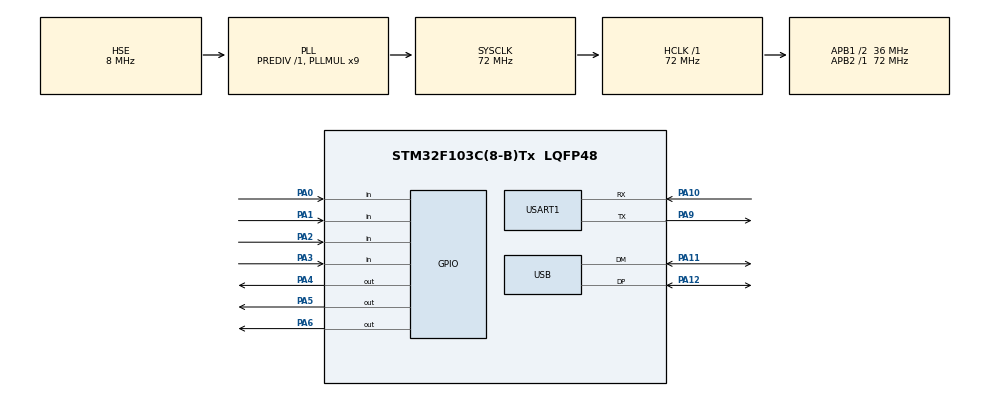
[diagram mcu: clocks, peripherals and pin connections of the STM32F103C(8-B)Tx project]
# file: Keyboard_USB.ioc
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Mcu.Family=STM32F1
Mcu.Name=STM32F103C(8-B)Tx
Mcu.Package=LQFP48
NVIC.PriorityGroup=NVIC_PRIORITYGROUP_4
NVIC.USB_LP_CAN1_RX0_IRQn=true\:0\:0\:false\:false\:true\:false\:true\:true
PA0-WKUP.GPIO_PuPd=GPIO_PULLUP
PA0-WKUP.Signal=GPIO_Input
PA1.GPIO_PuPd=GPIO_PULLUP
PA1.Signal=GPIO_Input
PA10.Mode=Asynchronous
PA10.Signal=USART1_RX
PA11.Mode=Device
PA11.Signal=USB_DM
PA12.Mode=Device
PA12.Signal=USB_DP
PA13.Mode=Serial_Wire
PA13.Signal=SYS_JTMS-SWDIO
PA14.Mode=Serial_Wire
PA14.Signal=SYS_JTCK-SWCLK
PA2.GPIO_PuPd=GPIO_PULLUP
PA2.Signal=GPIO_Input
PA3.GPIO_PuPd=GPIO_PULLUP
PA3.Signal=GPIO_Input
PA4.Signal=GPIO_Output
PA5.Signal=GPIO_Output
PA6.Signal=GPIO_Output
PA9.Mode=Asynchronous
PA9.Signal=USART1_TX
PD0-OSC_IN.Mode=HSE-External-Oscillator
PD0-OSC_IN.Signal=RCC_OSC_IN
PD1-OSC_OUT.Mode=HSE-External-Oscillator
PD1-OSC_OUT.Signal=RCC_OSC_OUT
ProjectManager.HeapSize=0x200
ProjectManager.StackSize=0x400
ProjectManager.TargetToolchain=MDK-ARM V5.32
RCC.AHBFreq_Value=72000000
RCC.APB1CLKDivider=RCC_HCLK_DIV2
RCC.APB1Freq_Value=36000000
RCC.APB1TimFreq_Value=72000000
RCC.APB2Freq_Value=72000000
RCC.APB2TimFreq_Value=72000000
RCC.HCLKFreq_Value=72000000
RCC.PLLMUL=RCC_PLL_MUL9
RCC.SYSCLKFreq_VALUE=72000000
RCC.SYSCLKSource=RCC_SYSCLKSOURCE_PLLCLK
RCC.USBFreq_Value=48000000
RCC.USBPrescaler=RCC_USBCLKSOURCE_PLL_DIV1_5
USART1.VirtualMode=VM_ASYNC
USB_DEVICE.CLASS_NAME_FS=HID
USB_DEVICE.VirtualMode=Hid
USB_DEVICE.VirtualModeFS=Hid_FS
VP_USB_DEVICE_VS_USB_DEVICE_HID_FS.Mode=HID_FS
board=custom

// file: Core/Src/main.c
/* USER CODE BEGIN Header */
/**
  ******************************************************************************
  * @file           : main.c
  * @brief          : Main program body
  ******************************************************************************
  * @attention
  *
  * Copyright (c) 2025 STMicroelectronics.
  * All rights reserved.
  *
  * This software is licensed under terms that can be found in the LICENSE file
  * in the root directory of this software component.
  * If no LICENSE file comes with this software, it is provided AS-IS.
  *
  ******************************************************************************
  */
/* USER CODE END Header */
#include "main.h"
#include "usb_device.h"

/* USER CODE BEGIN Includes */
#include "usbd_hid.h"
/* USER CODE END Includes */

UART_HandleTypeDef huart1;

/* USER CODE BEGIN PV */
/* Private variables ---------------------------------------------------------*/
#define PRESS_SIZE 8
#define CHAR_1_GPIO 				GPIOA
#define CHAR_1_PIN 				GPIO_PIN_0

extern USBD_HandleTypeDef hUsbDeviceFS;

typedef struct
{
	uint8_t MODIFIER;
	uint8_t RESERVED;
	uint8_t KEYCODE1;
	uint8_t KEYCODE2;
	uint8_t KEYCODE3;
	uint8_t KEYCODE4;
	uint8_t KEYCODE5;
	uint8_t KEYCODE6;
}subKeyBoard;

subKeyBoard keyBoardHIDsub = {0,0,0,0,0,0,0,0};
/* USER CODE END PV */

void SystemClock_Config(void);
static void MX_GPIO_Init(void);
static void MX_USART1_UART_Init(void);
/* USER CODE BEGIN PFP */
/* Private function prototypes -----------------------------------------------*/
void sendData()
{
//	if(HAL_GPIO_ReadPin(GPIOA, CHAR_1_PIN) == GPIO_PIN_RESET)
//	{
		uint8_t bufferHID[5] = {0, 0, 0, 0, 0};
		bufferHID[0] = 1;
		bufferHID[1] = 0;
		bufferHID[2] = 0x04;
		bufferHID[3] = 0x05;
		bufferHID[4] = 0x06;
		USBD_HID_SendReport(&hUsbDeviceFS,bufferHID,5);
		HAL_Delay(500);
		bufferHID[1] = 0;
		bufferHID[2] = 0;
		bufferHID[3] = 0;
		bufferHID[4] = 0;
		USBD_HID_SendReport(&hUsbDeviceFS,bufferHID,5);
		HAL_Delay(500);
//	}
}
/* USER CODE END PFP */

int main(void)
{

  /* MCU Configuration--------------------------------------------------------*/

  /* Reset of all peripherals, Initializes the Flash interface and the Systick. */
  HAL_Init();

  /* Configure the system clock */
  SystemClock_Config();

  /* Initialize all configured peripherals */
  MX_GPIO_Init();
  MX_USART1_UART_Init();
  MX_USB_DEVICE_Init();

  /* Infinite loop */
  while (1)
  {

    /* USER CODE BEGIN 3 */
			keyBoardHIDsub.KEYCODE1 = 0x04;
			USBD_HID_SendReport(&hUsbDeviceFS, (uint8_t *)&keyBoardHIDsub, sizeof(keyBoardHIDsub)); // G?i phím nh?n
			HAL_Delay(50);
			memset(&keyBoardHIDsub, 0, sizeof(keyBoardHIDsub)); // Xóa báo cáo d? th? phím
			USBD_HID_SendReport(&hUsbDeviceFS, (uint8_t *)&keyBoardHIDsub, sizeof(keyBoardHIDsub));
		HAL_Delay(1000);

  }
  /* USER CODE END 3 */
}

void SystemClock_Config(void)
{
  RCC_OscInitTypeDef RCC_OscInitStruct = {0};
  RCC_ClkInitTypeDef RCC_ClkInitStruct = {0};
  RCC_PeriphCLKInitTypeDef PeriphClkInit = {0};

  /** Initializes the RCC Oscillators according to the specified parameters
  * in the RCC_OscInitTypeDef structure.
  */
  RCC_OscInitStruct.OscillatorType = RCC_OSCILLATORTYPE_HSE;
  RCC_OscInitStruct.HSEState = RCC_HSE_ON;
  RCC_OscInitStruct.HSEPredivValue = RCC_HSE_PREDIV_DIV1;
  RCC_OscInitStruct.HSIState = RCC_HSI_ON;
  RCC_OscInitStruct.PLL.PLLState = RCC_PLL_ON;
  RCC_OscInitStruct.PLL.PLLSource = RCC_PLLSOURCE_HSE;
  RCC_OscInitStruct.PLL.PLLMUL = RCC_PLL_MUL9;
  if (HAL_RCC_OscConfig(&RCC_OscInitStruct) != HAL_OK)
  {
    Error_Handler();
  }

  /** Initializes the CPU, AHB and APB buses clocks
  */
  RCC_ClkInitStruct.ClockType = RCC_CLOCKTYPE_HCLK|RCC_CLOCKTYPE_SYSCLK
                              |RCC_CLOCKTYPE_PCLK1|RCC_CLOCKTYPE_PCLK2;
  RCC_ClkInitStruct.SYSCLKSource = RCC_SYSCLKSOURCE_PLLCLK;
  RCC_ClkInitStruct.AHBCLKDivider = RCC_SYSCLK_DIV1;
  RCC_ClkInitStruct.APB1CLKDivider = RCC_HCLK_DIV2;
  RCC_ClkInitStruct.APB2CLKDivider = RCC_HCLK_DIV1;

  if (HAL_RCC_ClockConfig(&RCC_ClkInitStruct, FLASH_LATENCY_2) != HAL_OK)
  {
    Error_Handler();
  }
  PeriphClkInit.PeriphClockSelection = RCC_PERIPHCLK_USB;
  PeriphClkInit.UsbClockSelection = RCC_USBCLKSOURCE_PLL_DIV1_5;
  if (HAL_RCCEx_PeriphCLKConfig(&PeriphClkInit) != HAL_OK)
  {
    Error_Handler();
  }
}

static void MX_USART1_UART_Init(void)
{

  huart1.Instance = USART1;
  huart1.Init.BaudRate = 115200;
  huart1.Init.WordLength = UART_WORDLENGTH_8B;
  huart1.Init.StopBits = UART_STOPBITS_1;
  huart1.Init.Parity = UART_PARITY_NONE;
  huart1.Init.Mode = UART_MODE_TX_RX;
  huart1.Init.HwFlowCtl = UART_HWCONTROL_NONE;
  huart1.Init.OverSampling = UART_OVERSAMPLING_16;
  if (HAL_UART_Init(&huart1) != HAL_OK)
  {
    Error_Handler();
  }

}

static void MX_GPIO_Init(void)
{
  GPIO_InitTypeDef GPIO_InitStruct = {0};

  /* GPIO Ports Clock Enable */
  __HAL_RCC_GPIOD_CLK_ENABLE();
  __HAL_RCC_GPIOA_CLK_ENABLE();

  /*Configure GPIO pin Output Level */
  HAL_GPIO_WritePin(GPIOA, GPIO_PIN_4|GPIO_PIN_5|GPIO_PIN_6, GPIO_PIN_RESET);

  /*Configure GPIO pins : PA0 PA1 PA2 PA3 */
  GPIO_InitStruct.Pin = GPIO_PIN_0|GPIO_PIN_1|GPIO_PIN_2|GPIO_PIN_3;
  GPIO_InitStruct.Mode = GPIO_MODE_INPUT;
  GPIO_InitStruct.Pull = GPIO_PULLUP;
  HAL_GPIO_Init(GPIOA, &GPIO_InitStruct);

  /*Configure GPIO pins : PA4 PA5 PA6 */
  GPIO_InitStruct.Pin = GPIO_PIN_4|GPIO_PIN_5|GPIO_PIN_6;
  GPIO_InitStruct.Mode = GPIO_MODE_OUTPUT_PP;
  GPIO_InitStruct.Pull = GPIO_NOPULL;
  GPIO_InitStruct.Speed = GPIO_SPEED_FREQ_LOW;
  HAL_GPIO_Init(GPIOA, &GPIO_InitStruct);

}

void Error_Handler(void)
{
  __disable_irq();
  while (1)
  {
  }
}
